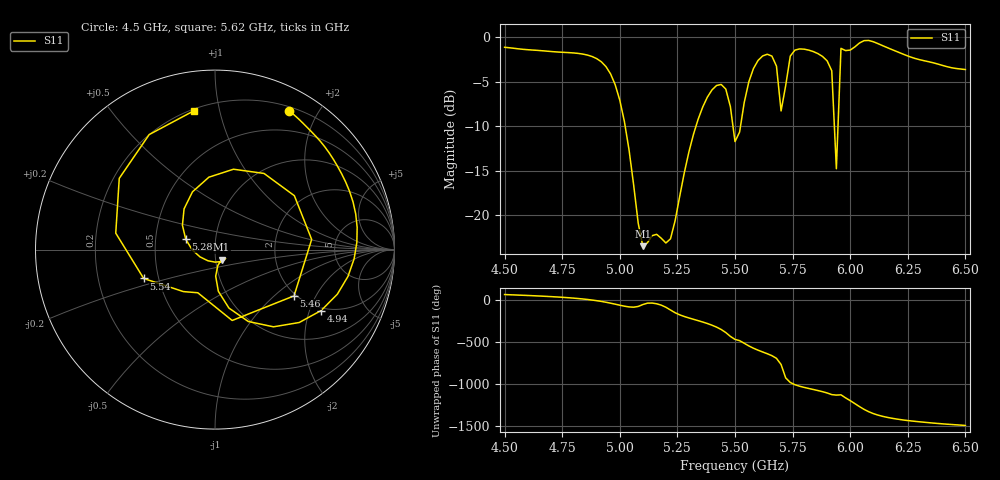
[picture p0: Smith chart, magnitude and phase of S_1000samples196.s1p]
! TOUCHSTONE file generated by CST MICROWAVE STUDIO
! Date and time: Thu Oct 27 08:25:36 2022
! Project name: L.cst
! Parameters = {Di=1.27; Epsilon_r=1.56; InnerDiameter=1.27; Length=2; Lf=10; Lg=60; OuterConductorThickness=0.2921; OuterDiameter=3.6; Wf=3; Wp=41.2; de=1.5; df=6.8; g=0.8; gx=2.22735; gy=1.48385; h=2.34; hf=1.524; px=10.0636; py=14.9425; w=9.7; wx=7.83622; wy=13.4586}
! Header version: 2018
! Port assignment regex: !\s*Touchstone port\s*([0-9]+)\s*=\s*(CST MWS port|CST DS port)\s*([0-9]+|Zmin|Zmax)\s*\(\"(.*)\"\)(\s*mode\s*([0-9]+))?.*
! Touchstone port assignment:
! Touchstone port 1 = CST MWS port 1 ("")
# GHz S DB R 50
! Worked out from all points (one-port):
!   101 points, 4.5 GHz to 6.5 GHz, reference 50 ohm
!   lowest |S11| = -23.5 dB at 5.1 GHz (marker M1), VSWR 1.14, Z = 53.4 - j6.04 ohm
!   |S11| at or under -10 dB: 5.023 GHz to 5.331 GHz (307.7 MHz wide, 5.94 % of centre); 5.491 GHz to 5.524 GHz (32.92 MHz wide, 0.598 % of centre); 5.931293 GHz to 5.947084 GHz (15.79 MHz wide, 0.266 % of centre)
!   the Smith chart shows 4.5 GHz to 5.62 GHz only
!   S11 on the Smith chart (normalised r, x): 4.5 GHz: 0.25, +1.64; 4.94 GHz: 1.90, -2.41; 5.28 GHz: 0.72, +0.09; 5.46 GHz: 1.95, -1.36; 5.54 GHz: 0.41, -0.16; 5.62 GHz: 0.21, +0.84
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4.5  -1.15 61.8
4.76  -1.73 27.3
4.94  -3.33 -29.9
5  -7.10 -65.2
5.1  -23.48 -57.1
5.26  -17.88 -179.7
5.28  -15.23 160.4
5.4  -5.94 57.2
5.46  -5.84 -30.3
5.5  -11.74 -111.7
5.54  -7.36 -158.0
5.58  -3.54 143.3
5.62  -2.12 98.5
5.68  -3.27 22.9
5.7  -8.30 -50.5
5.72  -5.45 150.1
5.74  -2.14 95.4
5.76  -1.47 69.1
5.86  -1.86 -0.6
5.92  -3.79 -48.9
5.94  -14.79 -54.6
5.96  -1.28 -51.3
6  -1.47 -120.3
6.04  -0.68 168.9
6.08  -0.39 108.2
6.16  -1.18 40.9
6.26  -2.23 -0.6
6.5  -3.65 -55.7
